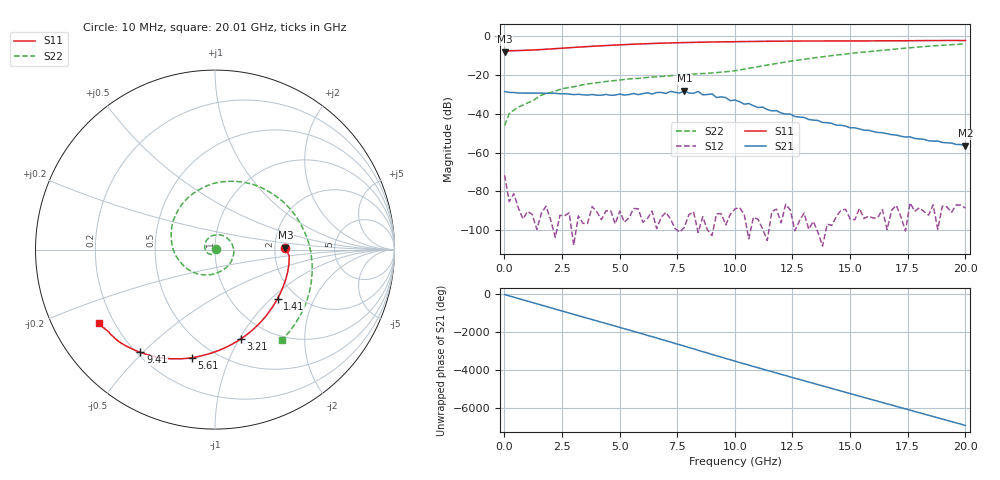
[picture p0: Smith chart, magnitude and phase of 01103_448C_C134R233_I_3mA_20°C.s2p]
!;Filter: kein Filter
!auto
!3/21/2019 9:27:07 AM
!3/21/2019 9:27:22 AM
!SP-Measurements Prober G4
!SP-Measurements Prober G4
!134
!233
!12
!20
!-20
!0.00299959
!1.83
!0.38139174
!0.38139174
# Hz S  RI  R 50
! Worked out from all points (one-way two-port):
!   101 points, 10 MHz to 20.01 GHz, reference 50 ohm
!   highest |S21| = -28.18 dB at 7.81 GHz (marker M1); lowest = -56.5 dB at 20.01 GHz (marker M2)
!   lowest |S11| = -8.1 dB at 10 MHz (marker M3), VSWR 2.29, Z = 115 + j2.95 ohm
!   |S11| at or under -10 dB: nowhere
!   |S22| runs from -46.1 to -4.1 dB; largest |S21 - S12| = 0.039
!   S11 on the Smith chart (normalised r, x): 10 MHz: 2.29, +0.06; 1.41 GHz: 1.61, -1.09; 3.21 GHz: 0.75, -1.02; 5.61 GHz: 0.38, -0.74; 9.41 GHz: 0.21, -0.49; 20.01 GHz: 0.14, -0.28
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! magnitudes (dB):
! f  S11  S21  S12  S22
! 10 MHz  -8.1  -28.6  -71.7  -46.1
! 210 MHz  -7.6  -29.0  -85.2  -40.0
! 1.41 GHz  -7.1  -29.4  -99.6  -31.9
! 1.81 GHz  -6.8  -29.5  -87.6  -29.6
! 3.21 GHz  -5.7  -30.0  -92.6  -25.6
! 3.41 GHz  -5.6  -30.2  -96.5  -25.1
! 5.61 GHz  -4.2  -29.6  -88.8  -21.9
! 6.81 GHz  -3.7  -29.0  -93.3  -20.8
! 7.61 GHz  -3.4  -29.4  -101.0  -20.1
! 7.81 GHz  -3.4  -28.2  -98.5  -19.9
! 8.21 GHz  -3.3  -29.5  -90.5  -19.6
! 8.41 GHz  -3.2  -28.5  -101.1  -19.4
! 8.61 GHz  -3.2  -30.3  -93.0  -19.3
! 9.41 GHz  -3.0  -31.3  -91.4  -18.6
! 9.81 GHz  -2.9  -33.3  -91.7  -18.1
! 10.01 GHz  -2.9  -32.9  -89.0  -17.9
! 10.41 GHz  -2.8  -35.1  -91.9  -17.0
! 10.61 GHz  -2.8  -34.7  -104.4  -16.6
! 11.01 GHz  -2.8  -36.8  -94.4  -15.8
! 13.41 GHz  -2.6  -43.3  -95.4  -11.3
! 16.81 GHz  -2.4  -50.8  -89.7  -6.9
! 20.01 GHz  -2.3  -56.5  -88.6  -4.1
